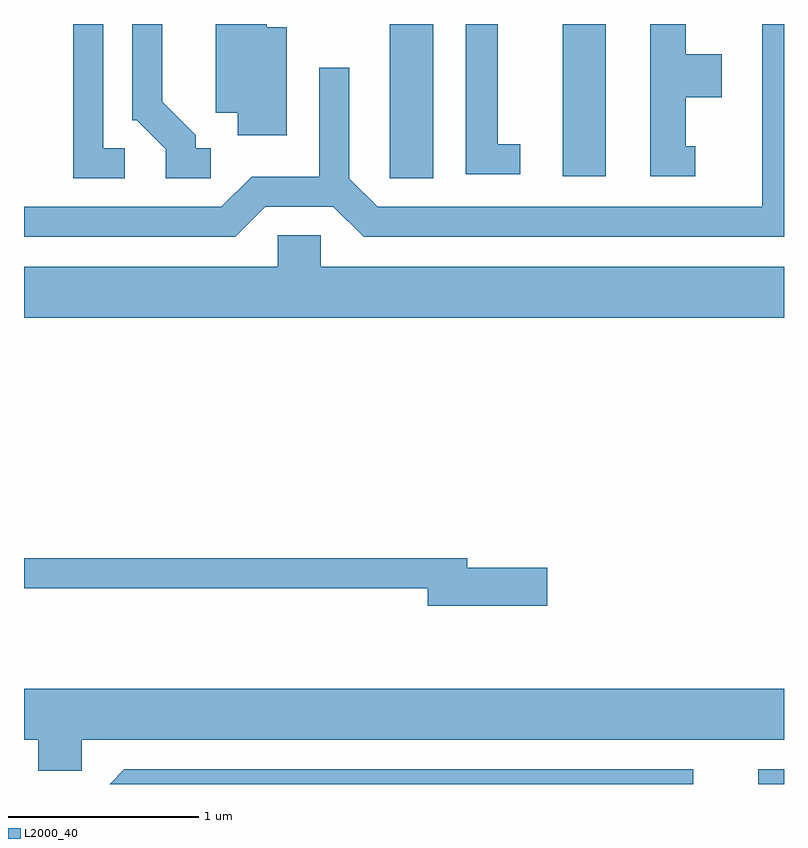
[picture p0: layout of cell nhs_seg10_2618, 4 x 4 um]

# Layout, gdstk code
import gdstk
lib = gdstk.Library(unit=1e-6, precision=1e-09)
def R(c, l, rs):  # rectangles x0, y0, x1, y1
    for r in rs: c.add(gdstk.rectangle(r[:2], r[2:], *l))
def P(c, l, *ps):  # polygons
    for p in ps: c.add(gdstk.Polygon(p, *l))
L2000_40 = (2000, 40)

nhs_seg10_2618 = lib.new_cell('nhs_seg10_2618')
R(nhs_seg10_2618, L2000_40, [(265.476,2162.522,265.611,2162.599), (263.536,2165.711,263.764,2166.522), (264.446,2165.721,264.674,2166.522)])
P(nhs_seg10_2618, L2000_40, [(265.143,2165.879),(265.094,2165.879),(265.094,2166.136),(265.284,2166.136),(265.284,2166.364),(265.094,2166.364),(265.094,2166.522),(264.906,2166.522),(264.906,2165.721),(265.143,2165.721)],
  [(262.882,2165.561),(263.239,2165.561),(263.399,2165.401),(265.611,2165.401),(265.611,2166.522),(265.496,2166.522),(265.496,2165.559),(263.472,2165.559),(263.324,2165.707),(263.324,2166.293),(263.166,2166.293),(263.166,2165.719),(262.809,2165.719),(262.649,2165.559),(261.611,2165.559),(261.611,2165.401),(262.722,2165.401)],
  [(262.593,2165.869),(262.514,2165.869),(262.514,2165.937),(262.339,2166.112),(262.339,2166.522),(262.181,2166.522),(262.181,2166.016),(262.204,2166.016),(262.356,2165.864),(262.356,2165.711),(262.593,2165.711)],
  [(264.223,2165.889),(264.104,2165.889),(264.104,2166.522),(263.936,2166.522),(263.936,2165.731),(264.223,2165.731)],
  [(262.994,2166.504),(262.889,2166.504),(262.889,2166.522),(262.621,2166.522),(262.621,2166.056),(262.736,2166.056),(262.736,2165.936),(262.994,2165.936)],
  [(262.142,2165.869),(262.029,2165.869),(262.029,2166.522),(261.871,2166.522),(261.871,2165.711),(262.142,2165.711)],
  [(265.611,2165.244),(263.174,2165.244),(263.174,2165.409),(262.946,2165.409),(262.946,2165.244),(261.611,2165.244),(261.611,2164.976),(265.611,2164.976)],
  [(264.364,2163.659),(263.944,2163.659),(263.944,2163.709),(261.611,2163.709),(261.611,2163.551),(263.736,2163.551),(263.736,2163.461),(264.364,2163.461)],
  [(261.914,2162.756),(265.611,2162.756),(265.611,2163.024),(261.611,2163.024),(261.611,2162.756),(261.686,2162.756),(261.686,2162.591),(261.914,2162.591)],
  [(265.134,2162.599),(262.139,2162.599),(262.062,2162.522),(265.134,2162.522)])

lib.write_gds('nhs_seg10_2618.gds')
